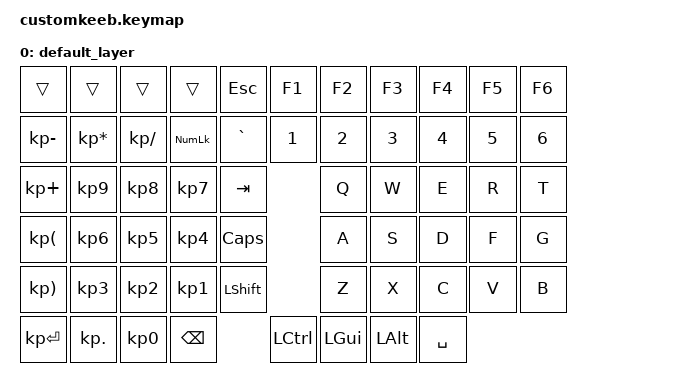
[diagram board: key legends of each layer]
#include <behaviors.dtsi>
#include <dt-bindings/zmk/bt.h>
#include <dt-bindings/zmk/keys.h>

/ {
    keymap {
        compatible = "zmk,keymap";

// ----------------------------------------------      -----------------------------------------------------
// | ESC  |  1   |  2  |  3   |  4  |  5  |  6  |      |  7  |  8  |  9  |  0  |  -  |  =  |  BKSPC |  `   |
// | TAB   |  Q   |  W  |  E   |  R  |  T  |        |  Y  |  U  |  I  |  O  |  P  |  [  |  ]  |  \  | DEL  |
// | LCTRL  |  A   |  S  |  D   |  F  |  G  |        |  H  |  J  |  K  |  L  |  ;  |  '  |   ENTER  | PGUP |
// | SHIFT   |  Z   |  X  |  C  |  V   |  B  |        |  N  |  M  |  ,  |  .  |  /  |  RSHFT  |  UP | PGDN |
// | LCTRL   | LGUI | LALT |   SPACE   | FN  |        |    SPACE    | RALT | FN | RCTRL | LFT | DWN | RGHT |
// -------------------------------------------        ------------------------------------------------------

        default_layer {
            bindings = <
    &trans         &trans             &trans           &trans      /**/  &kp ESC     &kp F1  &kp F2  &kp F3    &kp F4  &kp F5   &kp F6
    &kp KP_MINUS   &kp KP_MULTIPLY    &kp KP_DIVIDE    &kp KP_NLCK /**/  &kp GRAVE   &kp N1  &kp N2  &kp N3   &kp N4  &kp N5  &kp N6
    &kp KP_PLUS    &kp KP_N9          &kp KP_N8        &kp KP_N7   /**/  &kp TAB      &kp Q    &kp W     &kp E    &kp R     &kp T
    &kp KP_LPAR    &kp KP_N6          &kp KP_N5        &kp KP_N4   /**/  &kp CAPS      &kp A    &kp S     &kp D    &kp F     &kp G
    &kp KP_RPAR    &kp KP_N3          &kp KP_N2        &kp KP_N1   /**/  &kp LSHIFT     &kp Z   &kp X      &kp C    &kp V     &kp B
    &kp KP_ENTER   &kp KP_DOT         &kp KP_N0        &kp BSPC    /**/  &kp LCTRL  &kp LGUI  &kp LALT        &kp SPACE
            
            
            
            >;
        };
    };
};
